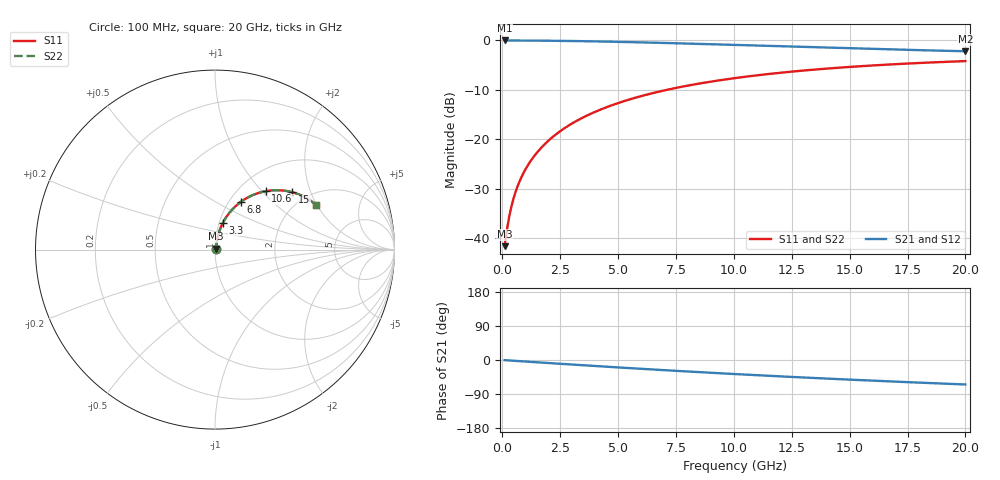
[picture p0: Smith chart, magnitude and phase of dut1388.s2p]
! Touchstone file exported from HFSS 2026.1.0
!  File:  C:/ffzhzh/LocalFiles/Ansys_Project_Files/temp_train_TMRDL_1388_1783166168_55132.aedt
!  Generated:  07:57:35 PM Jul  4, 2026
!  Design:  TMRDL
!  Project:  temp_train_TMRDL_1388_1783166168_55132
! Variables:
!  h_bsmrdl = 2um
!  h_ox = 20um
!  h_rdl = 5um
!  h_sub = 80um
!  h_tmrdl = 3.89um
!  h_tsv = 80um
!  h_via = 3um
!  l_bsmrdl = 300um
!  l_sub = 1391.01um
!  l_tmrdl = 991.01um
!  m_sub = 200um
!  pitch = 48.74um
!  r_tsv = 6um
!  s_tmrdl = 10um
!  w_bsmrdl = 18um
!  w_sub = 500um
!  w_tmrdl = 13.71um
!  x_tsv_center1 = 997.865um
!  x_tsv_center2 = 1315.865um
!  x_tsv_center3 = 2320.585um
!  x_tsv_center4 = 2638.585um
!  x_tsv_center5 = 3643.305um
!  x_tsv_center6 = 3961.305um
# GHz S MA R 50.000000
! Terminal data exported
! Port[1] = TM_RDL1_1_T1
! Port[2] = TM_RDL1_1_T2
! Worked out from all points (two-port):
!   200 points, 100 MHz to 20 GHz, reference 50 ohm
!   highest |S21| = -0.06 dB at 100 MHz (marker M1); lowest = -2.2 dB at 20 GHz (marker M2)
!   |S21| within 3 dB of the highest: start of sweep to end of sweep
!   lowest |S11| = -41.6 dB at 100 MHz (marker M3), VSWR 1.02, Z = 50.7 + j0.511 ohm
!   |S11| at or under -10 dB: start of sweep to 7.14 GHz
!   |S22| runs from -41.6 to -4.2 dB; largest |S21 - S12| = 4.7e-15
!   S11 on the Smith chart (normalised r, x): 100 MHz: 1.01, +0.01; 3.3 GHz: 1.04, +0.32; 6.8 GHz: 1.13, +0.66; 10.6 GHz: 1.31, +1.05; 15 GHz: 1.67, +1.50; 20 GHz: 2.44, +1.96
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0.1  0.008306 37.4  0.9934 -0.4  0.9934 -0.4  0.008306 37.4
! Gamma 0 0 0 0
! Port Impedance 50 0 50 0
0.2  0.01215 55.8  0.9933 -0.8  0.9933 -0.8  0.01215 55.8
0.3  0.01659 64.4  0.993 -1.2  0.993 -1.2  0.01659 64.4
0.4  0.02122 69.1  0.9928 -1.6  0.9928 -1.6  0.02122 69.1
0.5  0.0259 71.9  0.9925 -2.0  0.9925 -2.0  0.0259 71.9
0.7  0.03533 75.1  0.992 -2.8  0.992 -2.8  0.03533 75.1
1  0.04956 77.1  0.9912 -4.0  0.9912 -4.0  0.04956 77.1
1.4  0.06858 77.7  0.9898 -5.6  0.9898 -5.6  0.06858 77.7
1.9  0.09227 77.3  0.9875 -7.6  0.9875 -7.6  0.09227 77.3
2.5  0.1204 75.9  0.9841 -10.0  0.9841 -10.0  0.1204 75.9
3.3  0.1572 73.5  0.9782 -13.1  0.9782 -13.1  0.1572 73.5
3.5  0.1662 72.8  0.9766 -13.9  0.9766 -13.9  0.1662 72.8
4.2  0.1973 70.4  0.9702 -16.6  0.9702 -16.6  0.1973 70.5
5  0.2315 67.7  0.9619 -19.6  0.9619 -19.6  0.2315 67.7
6.8  0.3035 61.5  0.9402 -26.1  0.9402 -26.1  0.3035 61.5
8.3  0.3576 56.4  0.92 -31.4  0.92 -31.4  0.3576 56.4
10.1  0.4155 50.7  0.8947 -37.3  0.8947 -37.3  0.4155 50.7
10.6  0.4303 49.1  0.8876 -38.9  0.8876 -38.9  0.4303 49.1
13.4  0.5026 40.9  0.8486 -47.3  0.8486 -47.3  0.5027 40.9
15  0.5367 36.5  0.8276 -51.8  0.8276 -51.8  0.5368 36.5
16.7  0.5678 32.1  0.807 -56.4  0.807 -56.4  0.5679 32.1
20  0.6147 24.0  0.7729 -64.6  0.7729 -64.6  0.6148 24.0
